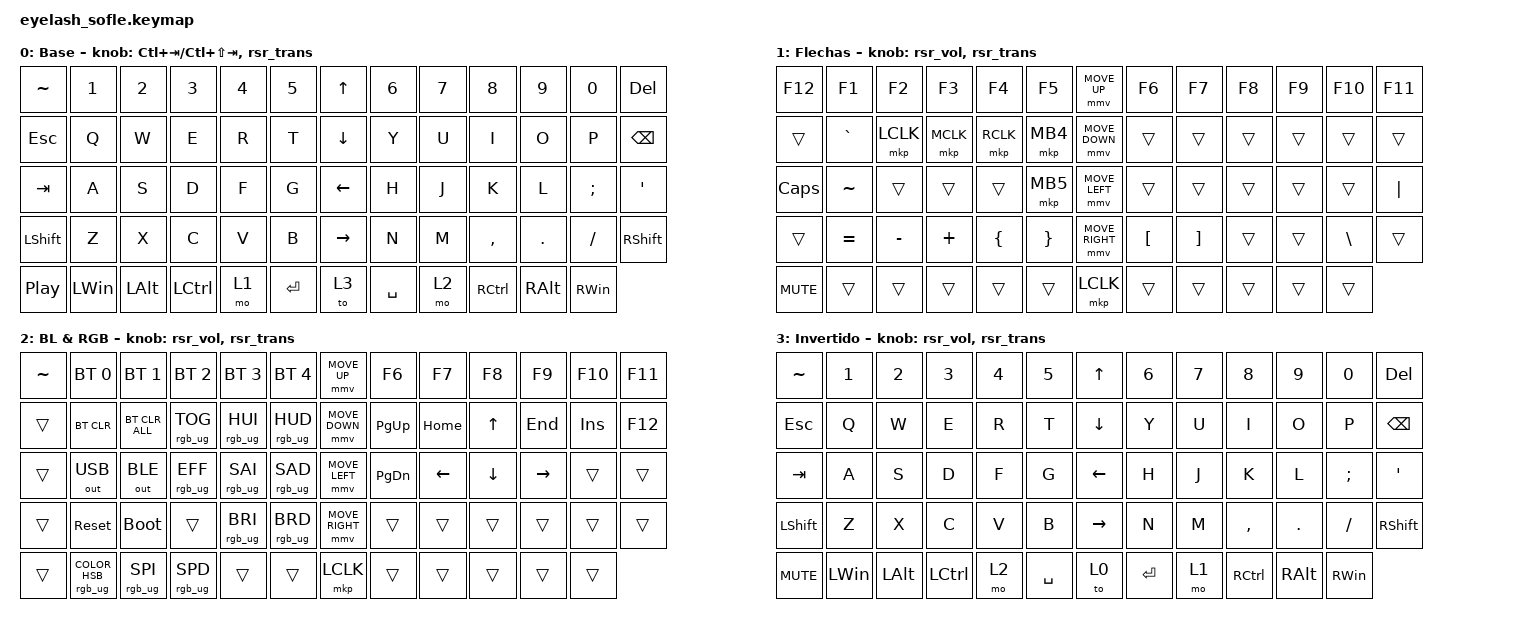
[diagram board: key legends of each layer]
#define ZMK_POINTING_DEFAULT_MOVE_VAL 1200  // 600
#define ZMK_POINTING_DEFAULT_SCRL_VAL 25   // 10

#include <input/processors.dtsi>
#include <zephyr/dt-bindings/input/input-event-codes.h>
#include <behaviors/runtime-sensor-rotate.dtsi>
#include <behaviors.dtsi>
#include <dt-bindings/zmk/bt.h>
#include <dt-bindings/zmk/keys.h>
#include <dt-bindings/zmk/outputs.h>
#include <dt-bindings/zmk/pointing.h>
#include <dt-bindings/zmk/rgb.h>

&mmv_input_listener { input-processors = <&zip_xy_scaler 2 1>; };

&msc_input_listener { input-processors = <&zip_scroll_scaler 2 1>; };

&msc {
    acceleration-exponent = <1>;      // 0
    time-to-max-speed-ms = <100>;       // 300
    delay-ms = <0>;                   // 0
};

&mmv {
    time-to-max-speed-ms = <500>;
    acceleration-exponent = <1>;
    trigger-period-ms = <16>;
};

&soft_off { hold-time-ms = <2000>; };

/ {
    scroll_encoder: scroll_encoder {
        compatible = "zmk,behavior-sensor-rotate";
        #sensor-binding-cells = <0>;
        bindings = <&msc SCRL_DOWN>, <&msc SCRL_UP>;

        tap-ms = <100>;
    };

    behaviors {
        rsr_vol: rsr_vol {
            compatible = "zmk,behavior-runtime-sensor-rotate";
            #sensor-binding-cells = <0>;
            tap-ms = <5>;
            cw-binding = <&kp C_VOL_UP>;
            ccw-binding = <&kp C_VOL_DN>;
        };

        rsr_trans: rsr_trans {
            compatible = "zmk,behavior-runtime-sensor-rotate";
            #sensor-binding-cells = <0>;
            tap-ms = <0>;
        };
    };

    combos { compatible = "zmk,combos"; };

    keymap {
        compatible = "zmk,keymap";

        Base {
            bindings = <
&kp TILDE         &kp N1        &kp N2        &kp N3            &kp N4  &kp N5       &kp UP_ARROW     &kp N6     &kp N7  &kp N8             &kp N9         &kp N0         &kp DEL
&kp ESCAPE        &kp Q         &kp W         &kp E             &kp R   &kp T        &kp DOWN_ARROW   &kp Y      &kp U   &kp I              &kp O          &kp P          &kp BACKSPACE
&kp TAB           &kp A         &kp S         &kp D             &kp F   &kp G        &kp LEFT_ARROW   &kp H      &kp J   &kp K              &kp L          &kp SEMI       &kp APOS
&kp LSHFT         &kp Z         &kp X         &kp C             &kp V   &kp B        &kp RIGHT_ARROW  &kp N      &kp M   &kp COMMA          &kp DOT        &kp FSLH       &kp RIGHT_SHIFT
&kp C_PLAY_PAUSE  &kp LEFT_WIN  &kp LEFT_ALT  &kp LEFT_CONTROL  &mo 1   &kp ENTER    &to 3            &kp SPACE  &mo 2   &kp RIGHT_CONTROL  &kp RIGHT_ALT  &kp RIGHT_WIN
            >;

            sensor-bindings = <&inc_dec_kp LC(TAB) LC(LS(TAB))>, <&rsr_trans>;

            display-name = "Base";
        };

        Flechas {
            bindings = <
&kp F12       &kp F1     &kp F2     &kp F3     &kp F4          &kp F5             &mmv MOVE_UP     &kp F6            &kp F7             &kp F8  &kp F9  &kp F10        &kp F11
&trans        &kp GRAVE  &mkp LCLK  &mkp MCLK  &mkp RCLK       &mkp MB4           &mmv MOVE_DOWN   &trans            &trans             &trans  &trans  &trans         &trans
&kp CAPSLOCK  &kp TILDE  &trans     &trans     &trans          &mkp MB5           &mmv MOVE_LEFT   &trans            &trans             &trans  &trans  &trans         &kp PIPE
&trans        &kp EQUAL  &kp MINUS  &kp PLUS   &kp LEFT_BRACE  &kp RIGHT_BRACE    &mmv MOVE_RIGHT  &kp LEFT_BRACKET  &kp RIGHT_BRACKET  &trans  &trans  &kp BACKSLASH  &trans
&kp C_MUTE    &trans     &trans     &trans     &trans          &trans             &mkp LCLK        &trans            &trans             &trans  &trans  &trans
            >;

            sensor-bindings = <&rsr_vol &rsr_trans>;
            display-name = "Flechas";
        };

        BLRGB {
            bindings = <
&kp TILDE  &bt BT_SEL 0                       &bt BT_SEL 1     &bt BT_SEL 2     &bt BT_SEL 3     &bt BT_SEL 4       &mmv MOVE_UP     &kp F6         &kp F7    &kp F8    &kp F9     &kp F10  &kp F11
&trans     &bt BT_CLR                         &bt BT_CLR_ALL   &rgb_ug RGB_TOG  &rgb_ug RGB_HUI  &rgb_ug RGB_HUD    &mmv MOVE_DOWN   &kp PAGE_UP    &kp HOME  &kp UP    &kp END    &kp INS  &kp F12
&trans     &out OUT_USB                       &out OUT_BLE     &rgb_ug RGB_EFF  &rgb_ug RGB_SAI  &rgb_ug RGB_SAD    &mmv MOVE_LEFT   &kp PAGE_DOWN  &kp LEFT  &kp DOWN  &kp RIGHT  &trans   &trans
&trans     &sys_reset                         &bootloader      &trans           &rgb_ug RGB_BRI  &rgb_ug RGB_BRD    &mmv MOVE_RIGHT  &trans         &trans    &trans    &trans     &trans   &trans
&trans     &rgb_ug RGB_COLOR_HSB(125,100,50)  &rgb_ug RGB_SPI  &rgb_ug RGB_SPD  &trans           &trans             &mkp LCLK        &trans         &trans    &trans    &trans     &trans
            >;

            display-name = "BL & RGB";
            sensor-bindings = <&rsr_vol &rsr_trans>;
        };

        Invertido {
            display-name = "Invertido";
            bindings = <
&kp TILDE   &kp N1        &kp N2        &kp N3            &kp N4  &kp N5       &kp UP_ARROW     &kp N6     &kp N7  &kp N8             &kp N9         &kp N0         &kp DEL
&kp ESCAPE  &kp Q         &kp W         &kp E             &kp R   &kp T        &kp DOWN_ARROW   &kp Y      &kp U   &kp I              &kp O          &kp P          &kp BACKSPACE
&kp TAB     &kp A         &kp S         &kp D             &kp F   &kp G        &kp LEFT_ARROW   &kp H      &kp J   &kp K              &kp L          &kp SEMI       &kp APOS
&kp LSHFT   &kp Z         &kp X         &kp C             &kp V   &kp B        &kp RIGHT_ARROW  &kp N      &kp M   &kp COMMA          &kp DOT        &kp FSLH       &kp RIGHT_SHIFT
&kp C_MUTE  &kp LEFT_WIN  &kp LEFT_ALT  &kp LEFT_CONTROL  &mo 2   &kp SPACE    &to 0            &kp ENTER  &mo 1   &kp RIGHT_CONTROL  &kp RIGHT_ALT  &kp RIGHT_WIN
            >;

            sensor-bindings = <&rsr_vol>, <&rsr_trans>;

            label = "Invertido";
        };
    };
};
